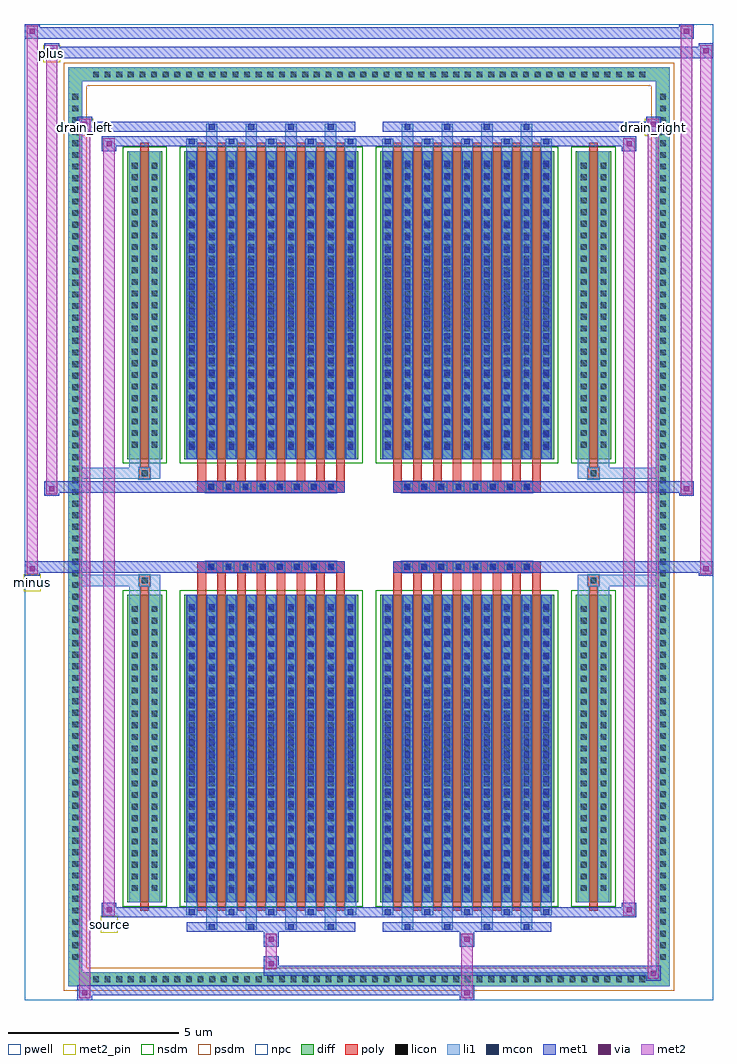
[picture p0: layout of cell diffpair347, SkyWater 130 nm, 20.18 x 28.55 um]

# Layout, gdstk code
import gdstk
lib = gdstk.Library(unit=1e-6, precision=5e-09)
def R(c, l, rs):  # rectangles x0, y0, x1, y1
    for r in rs: c.add(gdstk.rectangle(r[:2], r[2:], *l))
def A(c, l, x, y, w, h, nx, ny, dx, dy):  # array of equal rectangles
    R(c, l, [(x+i*dx, y+j*dy, x+i*dx+w, y+j*dy+h) for i in range(nx) for j in range(ny)])
def P(c, l, *ps):  # polygons
    for p in ps: c.add(gdstk.Polygon(p, *l))
pwell = (64, 44)
diff = (65, 20)
poly = (66, 20)
licon = (66, 44)
li1 = (67, 20)
mcon = (67, 44)
met1 = (68, 20)
via = (68, 44)
met2_pin = (69, 16)
met2 = (69, 20)
nsdm = (93, 44)
psdm = (94, 20)
npc = (95, 20)

diffpair347 = lib.new_cell('diffpair347')
R(diffpair347, pwell, [(-10.07,-13.84,10.07,14.71), (-7.39,-12.03,-0.01,-0.805), (0.01,-12.03,7.39,-0.805), (-7.39,0.805,-0.01,12.03), (0.01,0.805,7.39,12.03)])
A(diffpair347, diff, -8.195, -13.44, 0.41, 0.41, 48, 2, 0.34, 26.47)
A(diffpair347, diff, -8.8, -12.785, 0.41, 0.41, 1, 75, 0, 0.34)
A(diffpair347, diff, 8.39, -12.785, 0.41, 0.41, 1, 75, 0, 0.34)
R(diffpair347, diff, [(-8.195,-13.44,8.195,-13.03), (-8.8,-12.785,-8.39,12.785), (8.39,-12.785,8.8,12.785), (-7.08,-10.985,-6.05,-1.985), (-5.41,-10.985,-0.32,-1.985), (0.32,-10.985,5.41,-1.985), (6.05,-10.985,7.08,-1.985), (-7.08,1.985,-6.05,10.985), (-5.41,1.985,-0.32,10.985), (0.32,1.985,5.41,10.985), (6.05,1.985,7.08,10.985), (-8.195,13.03,8.195,13.44)])
P(diffpair347, diff, [(8.8,13.44),(-8.8,13.44),(-8.8,-13.03),(-8.39,-13.03),(-8.39,13.03),(8.39,13.03),(8.39,-13.03),(-8.39,-13.03),(-8.8,-13.03),(-8.8,-13.44),(8.8,-13.44)])
A(diffpair347, poly, -5.02, -11.235, 0.25, 9.5, 8, 2, 0.58, 12.97)
A(diffpair347, poly, 0.71, -11.235, 0.25, 9.5, 8, 2, 0.58, 12.97)
A(diffpair347, poly, -5.02, -1.735, 0.25, 0.4, 8, 2, 0.58, 3.07)
A(diffpair347, poly, 0.71, -1.735, 0.25, 0.4, 8, 2, 0.58, 3.07)
A(diffpair347, poly, -4.78, -1.335, 0.33, 0.33, 8, 2, 0.5, 2.34)
A(diffpair347, poly, 0.95, -1.335, 0.33, 0.33, 8, 2, 0.5, 2.34)
R(diffpair347, poly, [(-6.69,-11.235,-6.44,-1.735), (6.44,-11.235,6.69,-1.735), (-6.73,-1.735,-6.4,-1.405), (-6.73,-1.735,-6.4,-1.405), (6.4,-1.735,6.73,-1.405), (6.4,-1.735,6.73,-1.405), (-5.02,-1.335,-0.71,-1.005), (0.71,-1.335,5.02,-1.005), (-5.02,1.005,-0.71,1.335), (0.71,1.005,5.02,1.335), (-6.73,1.405,-6.4,1.735), (-6.73,1.405,-6.4,1.735), (6.4,1.405,6.73,1.735), (6.4,1.405,6.73,1.735), (-6.69,1.735,-6.44,11.235), (6.44,1.735,6.69,11.235)])
A(diffpair347, licon, -8.075, -13.32, 0.17, 0.17, 48, 2, 0.34, 26.47)
A(diffpair347, licon, -8.68, -12.665, 0.17, 0.17, 1, 75, 0, 0.34)
A(diffpair347, licon, 8.51, -12.665, 0.17, 0.17, 1, 75, 0, 0.34)
A(diffpair347, licon, -6.94, -10.65, 0.17, 0.17, 1, 25, 0, 0.34)
A(diffpair347, licon, -6.36, -10.65, 0.17, 0.17, 1, 25, 0, 0.34)
A(diffpair347, licon, -5.27, -10.65, 0.17, 0.17, 9, 25, 0.58, 0.34)
A(diffpair347, licon, 0.46, -10.65, 0.17, 0.17, 9, 25, 0.58, 0.34)
A(diffpair347, licon, 6.19, -10.65, 0.17, 0.17, 1, 25, 0, 0.34)
A(diffpair347, licon, 6.77, -10.65, 0.17, 0.17, 1, 25, 0, 0.34)
A(diffpair347, licon, -4.7, -1.255, 0.17, 0.17, 8, 2, 0.5, 2.34)
A(diffpair347, licon, 1.03, -1.255, 0.17, 0.17, 8, 2, 0.5, 2.34)
A(diffpair347, licon, -6.94, 2.32, 0.17, 0.17, 1, 25, 0, 0.34)
A(diffpair347, licon, -6.36, 2.32, 0.17, 0.17, 1, 25, 0, 0.34)
A(diffpair347, licon, -5.27, 2.32, 0.17, 0.17, 9, 25, 0.58, 0.34)
A(diffpair347, licon, 0.46, 2.32, 0.17, 0.17, 9, 25, 0.58, 0.34)
A(diffpair347, licon, 6.19, 2.32, 0.17, 0.17, 1, 25, 0, 0.34)
A(diffpair347, licon, 6.77, 2.32, 0.17, 0.17, 1, 25, 0, 0.34)
R(diffpair347, licon, [(-6.65,-1.655,-6.48,-1.485), (6.48,-1.655,6.65,-1.485), (-6.65,1.485,-6.48,1.655), (6.48,1.485,6.65,1.655)])
A(diffpair347, li1, -8.155, -13.4, 0.33, 0.33, 48, 2, 0.34, 26.47)
A(diffpair347, li1, -8.76, -12.745, 0.33, 0.33, 1, 75, 0, 0.34)
A(diffpair347, li1, 8.43, -12.745, 0.33, 0.33, 1, 75, 0, 0.34)
A(diffpair347, li1, -4.77, -11.79, 0.33, 0.805, 4, 2, 1.16, 22.775)
A(diffpair347, li1, -4.69, -11.79, 0.17, 0.17, 4, 2, 1.16, 23.41)
A(diffpair347, li1, 0.96, -11.79, 0.33, 0.805, 4, 2, 1.16, 22.775)
A(diffpair347, li1, 1.04, -11.79, 0.17, 0.17, 4, 2, 1.16, 23.41)
A(diffpair347, li1, -5.35, -11.36, 0.33, 0.375, 5, 2, 1.16, 22.345)
A(diffpair347, li1, -5.27, -11.36, 0.17, 0.17, 5, 2, 1.16, 22.55)
A(diffpair347, li1, 0.38, -11.36, 0.33, 0.375, 5, 2, 1.16, 22.345)
A(diffpair347, li1, 0.46, -11.36, 0.17, 0.17, 5, 2, 1.16, 22.55)
A(diffpair347, li1, -5.35, -10.985, 0.33, 9, 9, 2, 0.58, 12.97)
A(diffpair347, li1, 0.38, -10.985, 0.33, 9, 9, 2, 0.58, 12.97)
A(diffpair347, li1, -7.02, -10.73, 0.33, 0.33, 1, 25, 0, 0.34)
A(diffpair347, li1, -6.44, -10.73, 0.33, 0.33, 1, 25, 0, 0.34)
A(diffpair347, li1, -5.35, -10.73, 0.33, 0.33, 9, 25, 0.58, 0.34)
A(diffpair347, li1, 0.38, -10.73, 0.33, 0.33, 9, 25, 0.58, 0.34)
A(diffpair347, li1, 6.11, -10.73, 0.33, 0.33, 1, 25, 0, 0.34)
A(diffpair347, li1, 6.69, -10.73, 0.33, 0.33, 1, 25, 0, 0.34)
A(diffpair347, li1, -5.27, -10.71, 0.17, 0.17, 9, 24, 0.58, 0.36)
A(diffpair347, li1, -5.27, -10.71, 0.17, 8.45, 9, 2, 0.58, 12.97)
A(diffpair347, li1, 0.46, -10.71, 0.17, 0.17, 9, 24, 0.58, 0.36)
A(diffpair347, li1, 0.46, -10.71, 0.17, 8.45, 9, 2, 0.58, 12.97)
A(diffpair347, li1, -4.78, -1.335, 0.33, 0.33, 8, 2, 0.5, 2.34)
A(diffpair347, li1, 0.95, -1.335, 0.33, 0.33, 8, 2, 0.5, 2.34)
A(diffpair347, li1, -7.02, 2.24, 0.33, 0.33, 1, 25, 0, 0.34)
A(diffpair347, li1, -6.44, 2.24, 0.33, 0.33, 1, 25, 0, 0.34)
A(diffpair347, li1, -5.35, 2.24, 0.33, 0.33, 9, 25, 0.58, 0.34)
A(diffpair347, li1, 0.38, 2.24, 0.33, 0.33, 9, 25, 0.58, 0.34)
A(diffpair347, li1, 6.11, 2.24, 0.33, 0.33, 1, 25, 0, 0.34)
A(diffpair347, li1, 6.69, 2.24, 0.33, 0.33, 1, 25, 0, 0.34)
A(diffpair347, li1, -5.27, 2.26, 0.17, 0.17, 9, 24, 0.58, 0.36)
A(diffpair347, li1, 0.46, 2.26, 0.17, 0.17, 9, 24, 0.58, 0.36)
R(diffpair347, li1, [(-8.8,-13.44,-8.39,-13.03), (-8.8,-13.44,-8.39,-13.03), (-8.39,-13.44,8.39,-13.03), (8.39,-13.44,8.8,-13.03), (8.39,-13.44,8.8,-13.03), (-8.8,-13.03,-8.39,13.03), (8.39,-13.03,8.8,13.03), (-7.02,-10.985,-6.69,-1.985), (-6.44,-10.985,-6.11,-1.985), (6.11,-10.985,6.44,-1.985), (6.69,-10.985,7.02,-1.985), (-7.02,-1.985,-6.69,-1.405), (-6.44,-1.985,-6.11,-1.405), (6.11,-1.985,6.44,-1.405), (6.69,-1.985,7.02,-1.405), (-8.8,-1.735,-6.73,-1.405), (-7.02,-1.735,-6.73,-1.405), (-6.73,-1.735,-6.4,-1.405), (-6.4,-1.735,-6.11,-1.405), (6.11,-1.735,6.4,-1.405), (6.4,-1.735,6.73,-1.405), (6.4,-1.735,8.8,-1.405), (6.73,-1.735,7.02,-1.405), (-8.8,1.405,-6.73,1.735), (-7.02,1.405,-6.73,1.735), (-7.02,1.405,-6.69,1.985), (-6.73,1.405,-6.4,1.735), (-6.44,1.405,-6.11,1.985), (-6.4,1.405,-6.11,1.735), (6.11,1.405,6.4,1.735), (6.11,1.405,6.44,1.985), (6.4,1.405,6.73,1.735), (6.4,1.405,8.8,1.735), (6.69,1.405,7.02,1.985), (6.73,1.405,7.02,1.735), (-7.02,1.985,-6.69,10.985), (-6.44,1.985,-6.11,10.985), (6.11,1.985,6.44,10.985), (6.69,1.985,7.02,10.985), (-8.8,13.03,-8.39,13.44), (-8.8,13.03,-8.39,13.44), (-8.39,13.03,8.39,13.44), (8.39,13.03,8.8,13.44), (8.39,13.03,8.8,13.44)])
A(diffpair347, mcon, -4.69, -11.79, 0.17, 0.17, 4, 2, 1.16, 23.41)
A(diffpair347, mcon, 1.04, -11.79, 0.17, 0.17, 4, 2, 1.16, 23.41)
A(diffpair347, mcon, -5.27, -11.36, 0.17, 0.17, 5, 2, 1.16, 22.55)
A(diffpair347, mcon, 0.46, -11.36, 0.17, 0.17, 5, 2, 1.16, 22.55)
A(diffpair347, mcon, -5.27, -10.71, 0.17, 0.17, 9, 24, 0.58, 0.36)
A(diffpair347, mcon, 0.46, -10.71, 0.17, 0.17, 9, 24, 0.58, 0.36)
A(diffpair347, mcon, -4.7, -1.255, 0.17, 0.17, 8, 2, 0.5, 2.34)
A(diffpair347, mcon, 1.03, -1.255, 0.17, 0.17, 8, 2, 0.5, 2.34)
A(diffpair347, mcon, -5.27, 2.26, 0.17, 0.17, 9, 24, 0.58, 0.36)
A(diffpair347, mcon, 0.46, 2.26, 0.17, 0.17, 9, 24, 0.58, 0.36)
A(diffpair347, met1, -4.75, -11.85, 0.29, 0.29, 4, 2, 1.16, 23.41)
A(diffpair347, met1, 0.98, -11.85, 0.29, 0.29, 4, 2, 1.16, 23.41)
A(diffpair347, met1, -5.33, -11.42, 0.29, 0.29, 5, 2, 1.16, 22.55)
A(diffpair347, met1, 0.4, -11.42, 0.29, 0.29, 5, 2, 1.16, 22.55)
A(diffpair347, met1, -5.33, -10.985, 0.29, 9, 9, 2, 0.58, 12.97)
A(diffpair347, met1, 0.4, -10.985, 0.29, 9, 9, 2, 0.58, 12.97)
A(diffpair347, met1, -5.33, -10.77, 0.29, 0.29, 9, 24, 0.58, 0.36)
A(diffpair347, met1, 0.4, -10.77, 0.29, 0.29, 9, 24, 0.58, 0.36)
A(diffpair347, met1, -4.76, -1.315, 0.29, 0.29, 8, 2, 0.5, 2.34)
A(diffpair347, met1, 0.97, -1.315, 0.29, 0.29, 8, 2, 0.5, 2.34)
A(diffpair347, met1, -5.33, 2.2, 0.29, 0.29, 9, 24, 0.58, 0.36)
A(diffpair347, met1, 0.4, 2.2, 0.29, 0.29, 9, 24, 0.58, 0.36)
R(diffpair347, met1, [(-8.53,-13.84,-8.1,-13.41), (2.65,-13.84,3.08,-13.41), (-8.53,-13.7,3.08,-13.41), (8.1,-13.27,8.53,-12.84), (-3.08,-13.13,8.53,-12.84), (-3.08,-12.99,-2.65,-12.56), (-3.08,-12.28,-2.65,-11.85), (2.65,-12.28,3.08,-11.85), (-5.33,-11.85,-0.4,-11.56), (0.4,-11.85,5.33,-11.56), (-7.82,-11.42,-7.39,-10.99), (-7.82,-11.42,-5.33,-11.13), (-5.33,-11.42,-0.4,-11.13), (-0.4,-11.42,0.4,-11.13), (0.4,-11.42,5.33,-11.13), (5.33,-11.42,7.82,-11.13), (7.39,-11.42,7.82,-10.99), (-10.07,-1.435,-9.64,-1.005), (9.64,-1.435,10.07,-1.005), (-10.07,-1.335,-0.71,-1.005), (-5.02,-1.335,-0.71,-1.005), (0.71,-1.335,5.02,-1.005), (0.71,-1.335,10.07,-1.005), (-9.5,0.905,-9.07,1.335), (9.07,0.905,9.5,1.335), (-9.5,1.005,-5.02,1.335), (-5.02,1.005,-0.71,1.335), (0.71,1.005,5.02,1.335), (5.02,1.005,9.5,1.335), (-7.82,10.99,-7.39,11.42), (7.39,10.99,7.82,11.42), (-7.82,11.13,-5.33,11.42), (-5.33,11.13,-0.4,11.42), (-0.4,11.13,0.4,11.42), (0.4,11.13,5.33,11.42), (5.33,11.13,7.82,11.42), (-8.53,11.56,-8.1,11.99), (-8.53,11.56,-5.33,11.85), (-5.33,11.56,-0.4,11.85), (0.4,11.56,5.33,11.85), (5.33,11.56,8.53,11.85), (8.1,11.56,8.53,11.99), (-9.5,13.71,-9.07,14.14), (-9.5,13.71,-7.39,14.04), (-7.39,13.71,7.39,14.04), (7.39,13.71,10.07,14.04), (9.64,13.71,10.07,14.14), (-10.07,14.28,-9.64,14.71), (-10.07,14.28,-7.39,14.61), (-7.39,14.28,7.39,14.61), (7.39,14.28,9.5,14.61), (9.07,14.28,9.5,14.71)])
R(diffpair347, via, [(-8.39,-13.7,-8.24,-13.55), (2.79,-13.7,2.94,-13.55), (8.24,-13.13,8.39,-12.98), (-2.94,-12.85,-2.79,-12.7), (-2.94,-12.14,-2.79,-11.99), (2.79,-12.14,2.94,-11.99), (-7.68,-11.28,-7.53,-11.13), (7.53,-11.28,7.68,-11.13), (-9.93,-1.295,-9.78,-1.145), (9.78,-1.295,9.93,-1.145), (-9.36,1.045,-9.21,1.195), (9.21,1.045,9.36,1.195), (-7.68,11.13,-7.53,11.28), (7.53,11.13,7.68,11.28), (-8.39,11.7,-8.24,11.85), (8.24,11.7,8.39,11.85), (-9.36,13.85,-9.21,14), (9.78,13.85,9.93,14), (-9.93,14.42,-9.78,14.57), (9.21,14.42,9.36,14.57)])
R(diffpair347, met2_pin, [(-7.855,-11.87,-7.355,-11.37), (-10.105,-1.885,-9.605,-1.385), (-8.565,11.44,-8.065,11.94), (8.065,11.44,8.565,11.94), (-9.535,13.59,-9.035,14.09)])
R(diffpair347, met2, [(-8.48,-13.79,-8.15,-13.46), (-8.48,-13.79,-8.15,11.94), (2.7,-13.79,3.03,-13.46), (2.7,-13.46,3.03,-12.23), (8.15,-13.22,8.48,-12.89), (8.15,-13.22,8.48,11.94), (-3.03,-12.94,-2.7,-12.61), (-3.03,-12.61,-2.7,-12.23), (-3.03,-12.23,-2.7,-11.9), (2.7,-12.23,3.03,-11.9), (-7.77,-11.37,-7.44,-11.04), (-7.77,-11.37,-7.44,11.37), (7.44,-11.37,7.77,-11.04), (7.44,-11.37,7.77,11.37), (-10.02,-1.385,-9.69,-1.055), (-10.02,-1.385,-9.69,14.66), (9.69,-1.385,10.02,-1.055), (9.69,-1.385,10.02,14.09), (-9.45,0.955,-9.12,1.285), (-9.45,0.955,-9.12,14.09), (9.12,0.955,9.45,1.285), (9.12,0.955,9.45,14.66), (-7.77,11.04,-7.44,11.37), (7.44,11.04,7.77,11.37), (-8.48,11.61,-8.15,11.94), (8.15,11.61,8.48,11.94), (-9.45,13.76,-9.12,14.09), (9.69,13.76,10.02,14.09), (-10.02,14.33,-9.69,14.66), (9.12,14.33,9.45,14.66)])
P(diffpair347, met2, [(10.02,-1.385),(10.02,-1.385),(10.02,-1.055),(10.02,-1.055)],
  [(10.02,13.76),(10.02,13.76),(10.02,14.09),(10.02,14.09)],
  [(-9.69,-1.385),(-9.69,-1.385),(-9.69,-1.055),(-9.69,-1.055)],
  [(-9.69,14.33),(-9.69,14.33),(-9.69,14.66),(-9.69,14.66)],
  [(9.45,0.955),(9.45,0.955),(9.45,1.285),(9.45,1.285)],
  [(9.45,14.33),(9.45,14.33),(9.45,14.66),(9.45,14.66)],
  [(-9.12,0.955),(-9.12,0.955),(-9.12,1.285),(-9.12,1.285)],
  [(-9.12,13.76),(-9.12,13.76),(-9.12,14.09),(-9.12,14.09)],
  [(-8.15,-13.79),(-8.15,-13.79),(-8.15,-13.46),(-8.15,-13.46)],
  [(-8.15,11.61),(-8.15,11.61),(-8.15,11.94),(-8.15,11.94)],
  [(8.48,-13.22),(8.48,-13.22),(8.48,-12.89),(8.48,-12.89)],
  [(8.48,11.61),(8.48,11.61),(8.48,11.94),(8.48,11.94)],
  [(-7.44,-11.37),(-7.44,-11.37),(-7.44,-11.04),(-7.44,-11.04)],
  [(-7.44,11.04),(-7.44,11.04),(-7.44,11.37),(-7.44,11.37)],
  [(7.77,-11.37),(7.77,-11.37),(7.77,-11.04),(7.77,-11.04)],
  [(7.77,11.04),(7.77,11.04),(7.77,11.37),(7.77,11.37)])
R(diffpair347, nsdm, [(-7.21,-11.115,-5.92,-1.855), (-5.54,-11.115,-0.19,-1.855), (0.19,-11.115,5.54,-1.855), (5.92,-11.115,7.21,-1.855), (-7.21,1.855,-5.92,11.115), (-5.54,1.855,-0.19,11.115), (0.19,1.855,5.54,11.115), (5.92,1.855,7.21,11.115)])
P(diffpair347, psdm, [(8.93,13.57),(-8.93,13.57),(-8.93,-12.9),(-8.26,-12.9),(-8.26,12.9),(8.26,12.9),(8.26,-12.9),(-8.26,-12.9),(-8.93,-12.9),(-8.93,-13.57),(8.93,-13.57)])
A(diffpair347, npc, -4.8, -1.355, 0.37, 0.37, 8, 2, 0.5, 2.34)
A(diffpair347, npc, 0.93, -1.355, 0.37, 0.37, 8, 2, 0.5, 2.34)
R(diffpair347, npc, [(-6.75,-1.755,-6.38,-1.385), (6.38,-1.755,6.75,-1.385), (-4.8,-1.355,-3.93,-0.985), (-4.8,-1.355,-3.93,-0.985), (-4.3,-1.355,-3.43,-0.985), (-4.3,-1.355,-3.43,-0.985), (-3.8,-1.355,-2.93,-0.985), (-3.8,-1.355,-2.93,-0.985), (-3.3,-1.355,-2.43,-0.985), (-3.3,-1.355,-2.43,-0.985), (-2.8,-1.355,-1.93,-0.985), (-2.8,-1.355,-1.93,-0.985), (-2.3,-1.355,-1.43,-0.985), (-2.3,-1.355,-1.43,-0.985), (-1.8,-1.355,-0.93,-0.985), (-1.8,-1.355,-0.93,-0.985), (0.93,-1.355,1.8,-0.985), (0.93,-1.355,1.8,-0.985), (1.43,-1.355,2.3,-0.985), (1.43,-1.355,2.3,-0.985), (1.93,-1.355,2.8,-0.985), (1.93,-1.355,2.8,-0.985), (2.43,-1.355,3.3,-0.985), (2.43,-1.355,3.3,-0.985), (2.93,-1.355,3.8,-0.985), (2.93,-1.355,3.8,-0.985), (3.43,-1.355,4.3,-0.985), (3.43,-1.355,4.3,-0.985), (3.93,-1.355,4.8,-0.985), (3.93,-1.355,4.8,-0.985), (-4.8,0.985,-3.93,1.355), (-4.8,0.985,-3.93,1.355), (-4.3,0.985,-3.43,1.355), (-4.3,0.985,-3.43,1.355), (-3.8,0.985,-2.93,1.355), (-3.8,0.985,-2.93,1.355), (-3.3,0.985,-2.43,1.355), (-3.3,0.985,-2.43,1.355), (-2.8,0.985,-1.93,1.355), (-2.8,0.985,-1.93,1.355), (-2.3,0.985,-1.43,1.355), (-2.3,0.985,-1.43,1.355), (-1.8,0.985,-0.93,1.355), (-1.8,0.985,-0.93,1.355), (0.93,0.985,1.8,1.355), (0.93,0.985,1.8,1.355), (1.43,0.985,2.3,1.355), (1.43,0.985,2.3,1.355), (1.93,0.985,2.8,1.355), (1.93,0.985,2.8,1.355), (2.43,0.985,3.3,1.355), (2.43,0.985,3.3,1.355), (2.93,0.985,3.8,1.355), (2.93,0.985,3.8,1.355), (3.43,0.985,4.3,1.355), (3.43,0.985,4.3,1.355), (3.93,0.985,4.8,1.355), (3.93,0.985,4.8,1.355), (-6.75,1.385,-6.38,1.755), (6.38,1.385,6.75,1.755)])
diffpair347.add(gdstk.Label('minus', (-9.855,-1.635), layer=69, texttype=5))
diffpair347.add(gdstk.Label('drain_right', (8.315,11.69), layer=69, texttype=5))
diffpair347.add(gdstk.Label('drain_left', (-8.315,11.69), layer=69, texttype=5))
diffpair347.add(gdstk.Label('source', (-7.605,-11.62), layer=69, texttype=5))
diffpair347.add(gdstk.Label('plus', (-9.285,13.84), layer=69, texttype=5))

lib.write_gds('diffpair347.gds')
